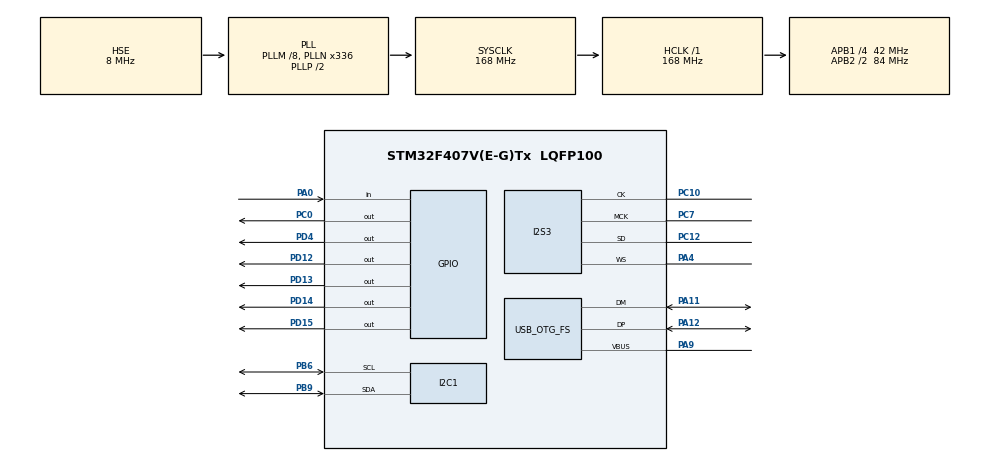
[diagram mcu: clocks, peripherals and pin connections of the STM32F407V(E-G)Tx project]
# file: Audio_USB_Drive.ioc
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Dma.Request0=SPI3_TX
Dma.SPI3_TX.0.Direction=DMA_MEMORY_TO_PERIPH
Dma.SPI3_TX.0.FIFOMode=DMA_FIFOMODE_ENABLE
Dma.SPI3_TX.0.FIFOThreshold=DMA_FIFO_THRESHOLD_FULL
Dma.SPI3_TX.0.Instance=DMA1_Stream5
Dma.SPI3_TX.0.MemBurst=DMA_MBURST_SINGLE
Dma.SPI3_TX.0.MemDataAlignment=DMA_MDATAALIGN_HALFWORD
Dma.SPI3_TX.0.MemInc=DMA_MINC_ENABLE
Dma.SPI3_TX.0.Mode=DMA_CIRCULAR
Dma.SPI3_TX.0.PeriphBurst=DMA_PBURST_SINGLE
Dma.SPI3_TX.0.PeriphDataAlignment=DMA_PDATAALIGN_HALFWORD
Dma.SPI3_TX.0.PeriphInc=DMA_PINC_DISABLE
Dma.SPI3_TX.0.Priority=DMA_PRIORITY_LOW
I2S3.AudioFreq=I2S_AUDIOFREQ_44K
I2S3.ErrorAudioFreq=0.24 %
I2S3.FullDuplexMode=I2S_FULLDUPLEXMODE_DISABLE
I2S3.Instance=SPI$Index
I2S3.RealAudioFreq=44.108 KHz
I2S3.VirtualMode=I2S_MODE_MASTER
Mcu.Family=STM32F4
Mcu.Name=STM32F407V(E-G)Tx
Mcu.Package=LQFP100
NVIC.DMA1_Stream5_IRQn=true\:0\:0\:false\:false\:true\:false\:true\:true
NVIC.OTG_FS_IRQn=true\:0\:0\:false\:false\:true\:true\:true\:true
NVIC.PriorityGroup=NVIC_PRIORITYGROUP_0
PA0-WKUP.Signal=GPIO_Input
PA11.Mode=Host_Only
PA11.Signal=USB_OTG_FS_DM
PA12.Mode=Host_Only
PA12.Signal=USB_OTG_FS_DP
PA4.Mode=Half_Duplex_Master
PA4.Signal=I2S3_WS
PA9.Mode=Activate_VBUS
PA9.Signal=USB_OTG_FS_VBUS
PB6.Mode=I2C
PB6.Signal=I2C1_SCL
PB9.Mode=I2C
PB9.Signal=I2C1_SDA
PC0.Signal=GPIO_Output
PC10.Mode=Half_Duplex_Master
PC10.Signal=I2S3_CK
PC12.Mode=Half_Duplex_Master
PC12.Signal=I2S3_SD
PC7.Mode=Master_Clock_Activated
PC7.Signal=I2S3_MCK
PD12.Signal=GPIO_Output
PD13.Signal=GPIO_Output
PD14.Signal=GPIO_Output
PD15.Signal=GPIO_Output
PD4.Signal=GPIO_Output
PH0-OSC_IN.Mode=HSE-External-Oscillator
PH0-OSC_IN.Signal=RCC_OSC_IN
PH1-OSC_OUT.Mode=HSE-External-Oscillator
PH1-OSC_OUT.Signal=RCC_OSC_OUT
ProjectManager.HeapSize=0x2000
ProjectManager.StackSize=0x2000
ProjectManager.TargetToolchain=STM32CubeIDE
RCC.48MHZClocksFreq_Value=48000000
RCC.AHBFreq_Value=168000000
RCC.APB1CLKDivider=RCC_HCLK_DIV4
RCC.APB1Freq_Value=42000000
RCC.APB1TimFreq_Value=84000000
RCC.APB2CLKDivider=RCC_HCLK_DIV2
RCC.APB2Freq_Value=84000000
RCC.APB2TimFreq_Value=168000000
RCC.CortexFreq_Value=168000000
RCC.HCLKFreq_Value=168000000
RCC.HSE_VALUE=8000000
RCC.HSI_VALUE=16000000
RCC.PLLI2SN=271
RCC.PLLI2SR=6
RCC.PLLM=8
RCC.PLLN=336
RCC.PLLQ=7
RCC.SYSCLKFreq_VALUE=168000000
RCC.SYSCLKSource=RCC_SYSCLKSOURCE_PLLCLK
RCC.VCOOutputFreq_Value=336000000
USB_HOST.USBH_HandleTypeDef-MSC_FS=hUsbHostFS
USB_HOST.VirtualModeFS=Msc
USB_OTG_FS.VirtualMode=Host_Only
USB_OTG_FS.phy_itface=HCD_PHY_EMBEDDED
VP_FATFS_VS_USB.Mode=USB
VP_USB_HOST_VS_USB_HOST_MSC_FS.Mode=MSC_FS
board=STM32F407G-DISC1

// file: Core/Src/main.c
/* USER CODE BEGIN Header */
/**
  ******************************************************************************
  * @file           : main.c
  * @brief          : Main program body
  ******************************************************************************
  * @attention
  *
  * Copyright (c) 2023 STMicroelectronics.
  * All rights reserved.
  *
  * This software is licensed under terms that can be found in the LICENSE file
  * in the root directory of this software component.
  * If no LICENSE file comes with this software, it is provided AS-IS.
  *
  ******************************************************************************
  */
/* USER CODE END Header */
#include "main.h"
#include "fatfs.h"
#include "usb_host.h"

/* USER CODE BEGIN Includes */
#include "audioI2S.h"
#include "MY_CS43L22.h"
#include "wav_player.h"
/* USER CODE END Includes */

/* USER CODE BEGIN PTD */
extern ApplicationTypeDef Appli_state;
/* USER CODE END PTD */

 I2C_HandleTypeDef hi2c1;

I2S_HandleTypeDef hi2s3;
DMA_HandleTypeDef hdma_spi3_tx;

/* USER CODE BEGIN PV */
#define WAV_FILE1 "audio/music1.wav"
/* USER CODE END PV */

void SystemClock_Config(void);
static void MX_GPIO_Init(void);
static void MX_I2C1_Init(void);
static void MX_DMA_Init(void);
static void MX_I2S3_Init(void);
void MX_USB_HOST_Process(void);

int main(void)
{

  /* MCU Configuration--------------------------------------------------------*/

  /* Reset of all peripherals, Initializes the Flash interface and the Systick. */
  HAL_Init();

  /* Configure the system clock */
  SystemClock_Config();

  /* Initialize all configured peripherals */
  MX_GPIO_Init();
  MX_I2C1_Init();
  MX_DMA_Init();
  MX_USB_HOST_Init();
  MX_FATFS_Init();
  MX_I2S3_Init();
  /* USER CODE BEGIN 2 */
  CS43_Init(hi2c1, MODE_I2S);
  CS43_SetVolume(200);
  CS43_Enable_RightLeft(CS43_RIGHT_LEFT);

  audioI2S_setHandle(&hi2s3);

  bool isSdCardMounted = 0;

  /* USER CODE END 2 */

  /* Infinite loop */
  while (1)
  {
    MX_USB_HOST_Process();

    /* USER CODE BEGIN 3 */
    if(Appli_state == APPLICATION_START) {
    	HAL_GPIO_WritePin(GPIOD, GPIO_PIN_12, GPIO_PIN_SET);
    } else if (Appli_state == APPLICATION_DISCONNECT) {
    	HAL_GPIO_WritePin(GPIOD, GPIO_PIN_12, GPIO_PIN_RESET);
    	f_mount(NULL, (TCHAR const*)"", 0);
    	isSdCardMounted = 0;
    }

    if(Appli_state == APPLICATION_READY) {
    	if(!isSdCardMounted) {
			f_mount(&USBHFatFS, (const TCHAR*)USBHPath, 0);
			isSdCardMounted = 1;
    	}
    	if(HAL_GPIO_ReadPin(GPIOA, GPIO_PIN_0)) {
    		HAL_GPIO_WritePin(GPIOD, GPIO_PIN_13, GPIO_PIN_SET);
    		HAL_Delay(500);
    		wavPlayer_fileSelect(WAV_FILE1);
    		wavPlayer_play();

    		while(!wavPlayer_isFinished()) {
    			wavPlayer_process();
    			if(HAL_GPIO_ReadPin(GPIOA, GPIO_PIN_0)) {
    				wavPlayer_stop();
				}
			}
			HAL_GPIO_WritePin(GPIOD, GPIO_PIN_13, GPIO_PIN_RESET);
			HAL_Delay(500);
    	}
    }
  }
  /* USER CODE END 3 */
}

void SystemClock_Config(void)
{
  RCC_OscInitTypeDef RCC_OscInitStruct = {0};
  RCC_ClkInitTypeDef RCC_ClkInitStruct = {0};

  /** Configure the main internal regulator output voltage
  */
  __HAL_RCC_PWR_CLK_ENABLE();
  __HAL_PWR_VOLTAGESCALING_CONFIG(PWR_REGULATOR_VOLTAGE_SCALE1);

  /** Initializes the RCC Oscillators according to the specified parameters
  * in the RCC_OscInitTypeDef structure.
  */
  RCC_OscInitStruct.OscillatorType = RCC_OSCILLATORTYPE_HSE;
  RCC_OscInitStruct.HSEState = RCC_HSE_ON;
  RCC_OscInitStruct.PLL.PLLState = RCC_PLL_ON;
  RCC_OscInitStruct.PLL.PLLSource = RCC_PLLSOURCE_HSE;
  RCC_OscInitStruct.PLL.PLLM = 8;
  RCC_OscInitStruct.PLL.PLLN = 336;
  RCC_OscInitStruct.PLL.PLLP = RCC_PLLP_DIV2;
  RCC_OscInitStruct.PLL.PLLQ = 7;
  if (HAL_RCC_OscConfig(&RCC_OscInitStruct) != HAL_OK)
  {
    Error_Handler();
  }

  /** Initializes the CPU, AHB and APB buses clocks
  */
  RCC_ClkInitStruct.ClockType = RCC_CLOCKTYPE_HCLK|RCC_CLOCKTYPE_SYSCLK
                              |RCC_CLOCKTYPE_PCLK1|RCC_CLOCKTYPE_PCLK2;
  RCC_ClkInitStruct.SYSCLKSource = RCC_SYSCLKSOURCE_PLLCLK;
  RCC_ClkInitStruct.AHBCLKDivider = RCC_SYSCLK_DIV1;
  RCC_ClkInitStruct.APB1CLKDivider = RCC_HCLK_DIV4;
  RCC_ClkInitStruct.APB2CLKDivider = RCC_HCLK_DIV2;

  if (HAL_RCC_ClockConfig(&RCC_ClkInitStruct, FLASH_LATENCY_5) != HAL_OK)
  {
    Error_Handler();
  }
}

static void MX_I2C1_Init(void)
{

  hi2c1.Instance = I2C1;
  hi2c1.Init.ClockSpeed = 100000;
  hi2c1.Init.DutyCycle = I2C_DUTYCYCLE_2;
  hi2c1.Init.OwnAddress1 = 0;
  hi2c1.Init.AddressingMode = I2C_ADDRESSINGMODE_7BIT;
  hi2c1.Init.DualAddressMode = I2C_DUALADDRESS_DISABLE;
  hi2c1.Init.OwnAddress2 = 0;
  hi2c1.Init.GeneralCallMode = I2C_GENERALCALL_DISABLE;
  hi2c1.Init.NoStretchMode = I2C_NOSTRETCH_DISABLE;
  if (HAL_I2C_Init(&hi2c1) != HAL_OK)
  {
    Error_Handler();
  }

}

static void MX_I2S3_Init(void)
{

  hi2s3.Instance = SPI3;
  hi2s3.Init.Mode = I2S_MODE_MASTER_TX;
  hi2s3.Init.Standard = I2S_STANDARD_PHILIPS;
  hi2s3.Init.DataFormat = I2S_DATAFORMAT_16B;
  hi2s3.Init.MCLKOutput = I2S_MCLKOUTPUT_ENABLE;
  hi2s3.Init.AudioFreq = I2S_AUDIOFREQ_44K;
  hi2s3.Init.CPOL = I2S_CPOL_LOW;
  hi2s3.Init.ClockSource = I2S_CLOCK_PLL;
  hi2s3.Init.FullDuplexMode = I2S_FULLDUPLEXMODE_DISABLE;
  if (HAL_I2S_Init(&hi2s3) != HAL_OK)
  {
    Error_Handler();
  }

}

static void MX_DMA_Init(void)
{

  /* DMA controller clock enable */
  __HAL_RCC_DMA1_CLK_ENABLE();

  /* DMA interrupt init */
  /* DMA1_Stream5_IRQn interrupt configuration */
  HAL_NVIC_SetPriority(DMA1_Stream5_IRQn, 0, 0);
  HAL_NVIC_EnableIRQ(DMA1_Stream5_IRQn);

}

static void MX_GPIO_Init(void)
{
  GPIO_InitTypeDef GPIO_InitStruct = {0};

  /* GPIO Ports Clock Enable */
  __HAL_RCC_GPIOH_CLK_ENABLE();
  __HAL_RCC_GPIOC_CLK_ENABLE();
  __HAL_RCC_GPIOA_CLK_ENABLE();
  __HAL_RCC_GPIOD_CLK_ENABLE();
  __HAL_RCC_GPIOB_CLK_ENABLE();

  /*Configure GPIO pin Output Level */
  HAL_GPIO_WritePin(GPIOC, GPIO_PIN_0, GPIO_PIN_RESET);

  /*Configure GPIO pin Output Level */
  HAL_GPIO_WritePin(GPIOD, GPIO_PIN_12|GPIO_PIN_13|GPIO_PIN_14|GPIO_PIN_15
                          |GPIO_PIN_4, GPIO_PIN_RESET);

  /*Configure GPIO pin : PC0 */
  GPIO_InitStruct.Pin = GPIO_PIN_0;
  GPIO_InitStruct.Mode = GPIO_MODE_OUTPUT_PP;
  GPIO_InitStruct.Pull = GPIO_NOPULL;
  GPIO_InitStruct.Speed = GPIO_SPEED_FREQ_LOW;
  HAL_GPIO_Init(GPIOC, &GPIO_InitStruct);

  /*Configure GPIO pin : PA0 */
  GPIO_InitStruct.Pin = GPIO_PIN_0;
  GPIO_InitStruct.Mode = GPIO_MODE_INPUT;
  GPIO_InitStruct.Pull = GPIO_NOPULL;
  HAL_GPIO_Init(GPIOA, &GPIO_InitStruct);

  /*Configure GPIO pins : PD12 PD13 PD14 PD15
                           PD4 */
  GPIO_InitStruct.Pin = GPIO_PIN_12|GPIO_PIN_13|GPIO_PIN_14|GPIO_PIN_15
                          |GPIO_PIN_4;
  GPIO_InitStruct.Mode = GPIO_MODE_OUTPUT_PP;
  GPIO_InitStruct.Pull = GPIO_NOPULL;
  GPIO_InitStruct.Speed = GPIO_SPEED_FREQ_LOW;
  HAL_GPIO_Init(GPIOD, &GPIO_InitStruct);

}

void Error_Handler(void)
{
  __disable_irq();
  while (1)
  {
  }
}
